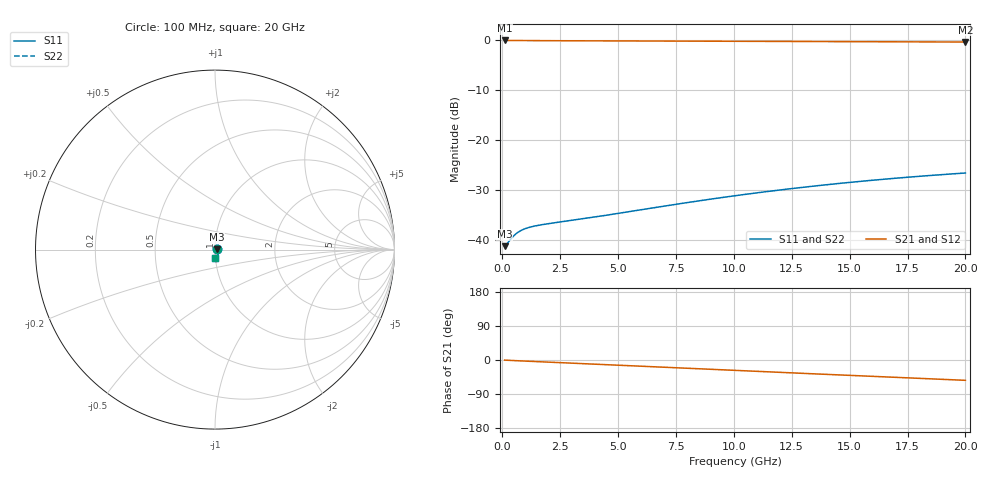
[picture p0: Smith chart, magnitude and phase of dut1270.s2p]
! Touchstone file exported from HFSS 2026.1.0
!  File:  C:/ffzhzh/LocalFiles/Ansys_Project_Files/temp_train_TMRDL_1270_1783164149_55132.aedt
!  Generated:  07:24:08 PM Jul  4, 2026
!  Design:  TMRDL
!  Project:  temp_train_TMRDL_1270_1783164149_55132
! Variables:
!  h_bsmrdl = 2um
!  h_ox = 20um
!  h_rdl = 5um
!  h_sub = 80um
!  h_tmrdl = 3.33um
!  h_tsv = 80um
!  h_via = 3um
!  l_bsmrdl = 300um
!  l_sub = 1376.37um
!  l_tmrdl = 976.37um
!  m_sub = 200um
!  pitch = 14.74um
!  r_tsv = 6um
!  s_tmrdl = 10um
!  w_bsmrdl = 18um
!  w_sub = 500um
!  w_tmrdl = 12.12um
!  x_tsv_center1 = 982.43um
!  x_tsv_center2 = 1300.43um
!  x_tsv_center3 = 2288.92um
!  x_tsv_center4 = 2606.92um
!  x_tsv_center5 = 3595.41um
!  x_tsv_center6 = 3913.41um
# GHz S MA R 50.000000
! Terminal data exported
! Port[1] = TM_RDL1_1_T1
! Port[2] = TM_RDL1_1_T2
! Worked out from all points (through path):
!   200 points, 100 MHz to 20 GHz, reference 50 ohm
!   highest |S21| = -0.08 dB at 100 MHz (marker M1); lowest = -0.4 dB at 20 GHz (marker M2)
!   group delay of S21, straight-line fit = 7.42 ps
!   lowest |S11| = -41.3 dB at 100 MHz (marker M3), VSWR 1.02, Z = 50.9 + j0.0837 ohm
!   |S11| at or under -10 dB: start of sweep to end of sweep
!   |S22| runs from -41.3 to -26.4 dB; largest |S21 - S12| = 4e-15
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0.1  0.008645 5.5  0.9914 -0.3  0.9914 -0.3  0.008645 5.5
! Gamma 0 0 0 0
! Port Impedance 50 0 50 0
0.2  0.009114 9.7  0.991 -0.7  0.991 -0.7  0.009114 9.7
0.4  0.01039 13.2  0.9899 -1.3  0.9899 -1.3  0.01039 13.2
0.5  0.011 13.3  0.9894 -1.6  0.9894 -1.6  0.01101 13.3
0.6  0.01154 12.8  0.9888 -1.8  0.9888 -1.8  0.01154 12.8
0.7  0.01199 12.0  0.9884 -2.1  0.9884 -2.1  0.012 12.0
0.8  0.01238 11.0  0.988 -2.4  0.988 -2.4  0.01238 11.0
1  0.01297 9.0  0.9873 -2.9  0.9873 -2.9  0.01298 9.0
1.1  0.01321 8.1  0.987 -3.2  0.987 -3.2  0.01321 8.0
1.3  0.01359 6.2  0.9866 -3.8  0.9866 -3.8  0.0136 6.2
1.7  0.01417 3.0  0.9859 -4.8  0.9859 -4.8  0.01418 3.0
3.5  0.01628 -7.7  0.9836 -9.8  0.9836 -9.8  0.01632 -7.7
5.1  0.01855 -16.5  0.9812 -14.1  0.9812 -14.1  0.01864 -16.5
6.8  0.02142 -26.1  0.9783 -18.8  0.9783 -18.8  0.02157 -26.1
8.4  0.0244 -35.3  0.9753 -23.1  0.9753 -23.1  0.02464 -35.2
10.1  0.02775 -44.9  0.9722 -27.6  0.9722 -27.6  0.02808 -44.8
11.7  0.03099 -53.7  0.9693 -31.9  0.9693 -31.9  0.03141 -53.4
13.4  0.03443 -62.5  0.9663 -36.3  0.9663 -36.3  0.03496 -62.1
15  0.03761 -70.4  0.9636 -40.6  0.9636 -40.6  0.03824 -69.9
16.7  0.04087 -78.3  0.9609 -45.0  0.9609 -45.0  0.04162 -77.7
18.4  0.04397 -85.9  0.9584 -49.5  0.9584 -49.5  0.04483 -85.1
20  0.04669 -92.6  0.9561 -53.6  0.9561 -53.6  0.04766 -91.7
